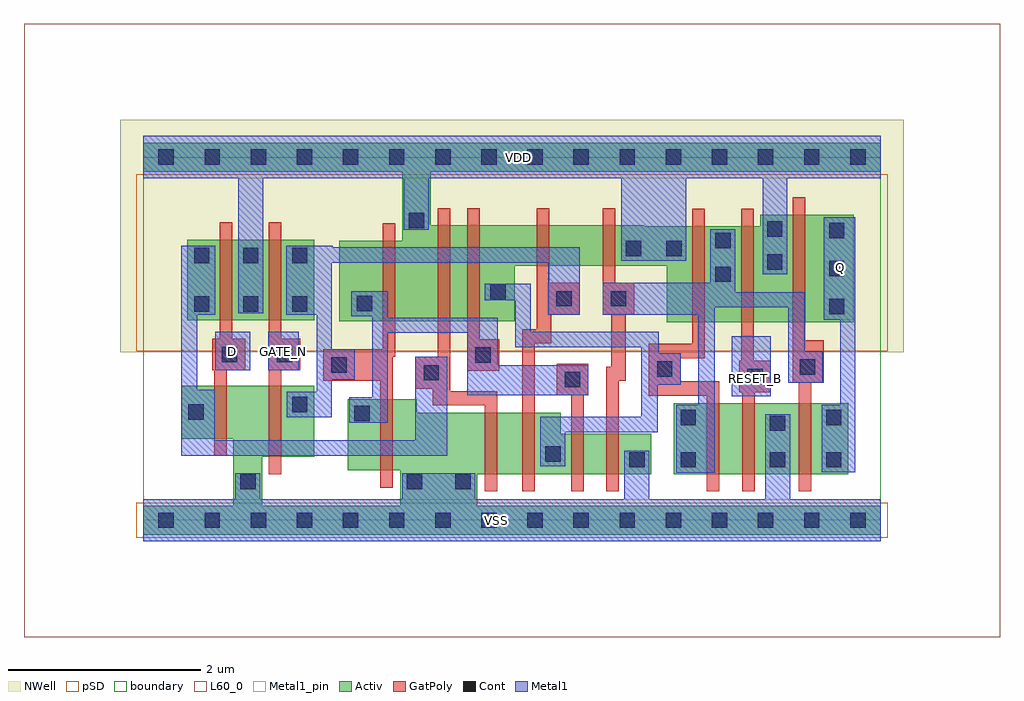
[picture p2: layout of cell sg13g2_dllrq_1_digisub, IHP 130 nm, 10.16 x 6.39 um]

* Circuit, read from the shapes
.subckt sg13g2_dllrq_1_digisub D GATE_N Q RESET_B VDD VSS
XM1 VSS D n1 VSS sg13_lv_nmos w=0.55u l=0.13u
XM2 n2 GATE_N VSS VSS sg13_lv_nmos w=0.74u l=0.13u
XM3 VSS n2 n3 VSS sg13_lv_nmos w=0.74u l=0.13u
XM4 n4 n1 VSS VSS sg13_lv_nmos w=0.64u l=0.13u
XM5 n5 n2 n4 VSS sg13_lv_nmos w=0.64u l=0.13u
XM6 n6 n3 n5 VSS sg13_lv_nmos w=0.42u l=0.13u
XM7 VSS n7 n6 VSS sg13_lv_nmos w=0.42u l=0.13u
XM8 n8 n5 n7 VSS sg13_lv_nmos w=0.74u l=0.13u
XM9 VSS RESET_B n8 VSS sg13_lv_nmos w=0.74u l=0.13u
XM10 Q n7 VSS VSS sg13_lv_nmos w=0.74u l=0.13u
XM11 VDD D n1 VDD sg13_lv_pmos w=0.84u l=0.13u
XM12 n2 GATE_N VDD VDD sg13_lv_pmos w=0.84u l=0.13u
XM13 VDD n2 n3 VDD sg13_lv_pmos w=0.84u l=0.13u
XM14 n9 n1 VDD VDD sg13_lv_pmos w=1u l=0.13u
XM15 n5 n3 n9 VDD sg13_lv_pmos w=1u l=0.13u
XM16 n10 n2 n5 VDD sg13_lv_pmos w=0.42u l=0.13u
XM17 VDD n7 n10 VDD sg13_lv_pmos w=0.42u l=0.13u
XM18 n7 n5 VDD VDD sg13_lv_pmos w=1u l=0.13u
XM19 VDD RESET_B n7 VDD sg13_lv_pmos w=1u l=0.13u
XM20 Q n7 VDD VDD sg13_lv_pmos w=1.12u l=0.13u
.ends

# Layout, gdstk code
import gdstk
lib = gdstk.Library(unit=1e-6, precision=1e-09)
def R(c, l, rs):  # rectangles x0, y0, x1, y1
    for r in rs: c.add(gdstk.rectangle(r[:2], r[2:], *l))
def A(c, l, x, y, w, h, nx, ny, dx, dy):  # array of equal rectangles
    R(c, l, [(x+i*dx, y+j*dy, x+i*dx+w, y+j*dy+h) for i in range(nx) for j in range(ny)])
def P(c, l, *ps):  # polygons
    for p in ps: c.add(gdstk.Polygon(p, *l))
Activ = (1, 0)
GatPoly = (5, 0)
Cont = (6, 0)
Metal1 = (8, 0)
Metal1_pin = (8, 2)
pSD = (14, 0)
NWell = (31, 0)
L60_0 = (60, 0)
boundary = (189, 4)

sg13g2_dllrq_1_digisub = lib.new_cell('sg13g2_dllrq_1_digisub')
R(sg13g2_dllrq_1_digisub, Activ, [(5.525,0.48,7.34,1.22), (0.46,2.08,1.78,2.92)])
P(sg13g2_dllrq_1_digisub, Activ, [(7.68,0.15),(3.48,0.15),(3.48,0.48),(5.29,0.48),(5.29,0.9),(4.345,0.9),(4.345,1.12),(2.85,1.12),(2.85,1.26),(2.13,1.26),(2.13,0.52),(2.675,0.52),(2.675,0.15),(1.24,0.15),(1.24,0.66),(1.78,0.66),(1.78,1.4),(0.4,1.4),(0.4,0.85),(0.94,0.85),(0.94,0.15),(0,0.15),(0,-0.15),(7.68,-0.15)],
  [(7.68,3.93),(0,3.93),(0,3.63),(2.695,3.63),(2.695,2.91),(2.04,2.91),(2.04,2.07),(3.87,2.07),(3.87,2.65),(5.45,2.65),(5.45,2.06),(7.395,2.06),(7.395,3.18),(6.425,3.18),(6.425,3.06),(5.215,3.06),(5.215,3.07),(2.995,3.07),(2.995,3.63),(7.68,3.63)])
P(sg13g2_dllrq_1_digisub, GatPoly, [(1.065,1.89),(0.93,1.89),(0.93,3.1),(0.8,3.1),(0.8,1.89),(0.72,1.89),(0.72,1.56),(0.74,1.56),(0.74,0.67),(0.87,0.67),(0.87,1.56),(1.065,1.56)],
  [(1.635,1.89),(1.44,1.89),(1.44,3.1),(1.31,3.1),(1.31,1.89),(1.305,1.89),(1.305,1.56),(1.31,1.56),(1.31,0.48),(1.44,0.48),(1.44,1.56),(1.635,1.56)],
  [(2.6,1.7),(2.625,1.7),(2.625,3.09),(2.495,3.09),(2.495,1.78),(1.875,1.78),(1.875,1.45),(2.47,1.45),(2.47,0.34),(2.6,0.34)],
  [(3.705,1.885),(3.505,1.885),(3.505,3.25),(3.375,3.25),(3.375,1.555),(3.705,1.555)],
  [(3.685,1.345),(3.195,1.345),(3.195,3.25),(3.065,3.25),(3.065,1.7),(2.835,1.7),(2.835,1.37),(3.015,1.37),(3.015,1.195),(3.555,1.195),(3.555,0.3),(3.685,0.3)],
  [(4.545,2.47),(4.23,2.47),(4.23,3.25),(4.1,3.25),(4.1,1.99),(3.945,1.99),(3.945,0.3),(4.075,0.3),(4.075,1.84),(4.25,1.84),(4.25,2.14),(4.545,2.14)],
  [(4.635,1.63),(4.305,1.63),(4.305,1.3),(4.455,1.3),(4.455,0.3),(4.585,0.3),(4.585,1.3),(4.635,1.3)],
  [(5.115,2.47),(4.915,2.47),(4.915,3.25),(4.785,3.25),(4.785,2.14),(4.875,2.14),(4.875,1.6),(4.82,1.6),(4.82,0.3),(4.95,0.3),(4.95,1.45),(5.025,1.45),(5.025,2.14),(5.115,2.14)],
  [(5.995,1.445),(5.595,1.445),(5.595,1.685),(5.845,1.685),(5.845,3.24),(5.715,3.24),(5.715,1.835),(5.265,1.835),(5.265,1.295),(5.865,1.295),(5.865,0.3),(5.995,0.3)],
  [(6.535,1.66),(6.355,1.66),(6.355,3.24),(6.225,3.24),(6.225,1.66),(6.205,1.66),(6.205,1.33),(6.235,1.33),(6.235,0.3),(6.365,0.3),(6.365,1.33),(6.535,1.33)],
  [(7.085,1.875),(6.895,1.875),(6.895,3.36),(6.765,3.36),(6.765,1.43),(6.825,1.43),(6.825,0.3),(6.955,0.3),(6.955,1.43),(7.085,1.43)])
A(sg13g2_dllrq_1_digisub, Cont, 0.16, -0.08, 0.16, 0.16, 16, 2, 0.48, 3.78)
A(sg13g2_dllrq_1_digisub, Cont, 7.14, 2.145, 0.16, 0.16, 1, 3, 0, 0.395)
A(sg13g2_dllrq_1_digisub, Cont, 0.53, 2.17, 0.16, 0.16, 3, 2, 0.51, 0.505)
R(sg13g2_dllrq_1_digisub, Cont, [(1.01,0.32,1.17,0.48), (2.745,0.32,2.905,0.48), (3.25,0.32,3.41,0.48), (5.06,0.55,5.22,0.71), (5.595,0.55,5.755,0.71), (6.525,0.55,6.685,0.71), (7.11,0.55,7.27,0.71), (4.185,0.61,4.345,0.77), (6.525,0.93,6.685,1.09), (5.595,0.99,5.755,1.15), (7.11,0.99,7.27,1.15), (2.2,1.03,2.36,1.19), (0.47,1.045,0.63,1.205), (1.55,1.125,1.71,1.285), (4.39,1.385,4.55,1.545), (6.29,1.415,6.45,1.575), (2.92,1.455,3.08,1.615), (5.35,1.495,5.51,1.655), (6.835,1.515,6.995,1.675), (1.96,1.535,2.12,1.695), (3.46,1.64,3.62,1.8), (0.82,1.645,0.98,1.805), (1.39,1.645,1.55,1.805), (2.225,2.175,2.385,2.335), (4.3,2.225,4.46,2.385), (4.87,2.225,5.03,2.385), (3.615,2.295,3.775,2.455), (5.955,2.48,6.115,2.64), (6.495,2.61,6.655,2.77), (5.025,2.75,5.185,2.91), (5.445,2.75,5.605,2.91), (5.955,2.83,6.115,2.99), (6.495,2.95,6.655,3.11), (2.765,3.04,2.925,3.2)])
R(sg13g2_dllrq_1_digisub, Metal1, [(6.13,1.29,6.535,1.915), (0.75,1.56,1.115,1.96), (1.305,1.56,1.62,1.96)])
P(sg13g2_dllrq_1_digisub, Metal1, [(3.165,1.7),(2.835,1.7),(2.835,0.835),(0.745,0.835),(0.745,1.36),(0.565,1.36),(0.565,2.14),(0.75,2.14),(0.75,2.855),(0.395,2.855),(0.395,0.67),(3.165,0.67)],
  [(4.545,2.84),(1.975,2.84),(1.975,2.855),(1.49,2.855),(1.49,2.14),(1.805,2.14),(1.805,1.335),(1.495,1.335),(1.495,1.07),(1.965,1.07),(1.965,1.46),(2.205,1.46),(2.205,1.78),(1.965,1.78),(1.965,2.68),(4.215,2.68),(4.215,2.14),(4.545,2.14)],
  [(7.415,3.155),(7.085,3.155),(7.085,2.085),(7.255,2.085),(7.255,1.2),(7.065,1.2),(7.065,0.5),(7.415,0.5)],
  [(5.595,1.74),(5.37,1.74),(5.37,1.96),(4.035,1.96),(4.035,2.46),(3.555,2.46),(3.555,2.29),(3.875,2.29),(3.875,1.8),(5.185,1.8),(5.185,1.075),(4.135,1.075),(4.135,0.56),(4.395,0.56),(4.395,0.915),(5.355,0.915),(5.355,1.41),(5.595,1.41)],
  [(4.635,1.615),(3.69,1.615),(3.69,2.11),(2.545,2.11),(2.545,2.385),(2.165,2.385),(2.165,2.125),(2.385,2.125),(2.385,1.28),(2.145,1.28),(2.145,1.015),(2.545,1.015),(2.545,1.95),(3.375,1.95),(3.375,1.3),(4.635,1.3)],
  [(7.68,4),(0,4),(0,3.56),(0.99,3.56),(0.99,2.155),(1.25,2.155),(1.25,3.56),(2.715,3.56),(2.715,3.025),(2.975,3.025),(2.975,3.56),(4.975,3.56),(4.975,2.7),(5.655,2.7),(5.655,3.56),(6.45,3.56),(6.45,2.56),(6.705,2.56),(6.705,3.56),(7.68,3.56)],
  [(7.075,1.76),(6.885,1.76),(6.885,2.375),(6.165,2.375),(6.165,3.03),(5.905,3.03),(5.905,2.47),(4.785,2.47),(4.785,2.14),(5.78,2.14),(5.78,1.2),(5.55,1.2),(5.55,0.495),(5.95,0.495),(5.95,2.215),(6.715,2.215),(6.715,1.43),(7.075,1.43)],
  [(7.68,0.22),(6.735,0.22),(6.735,1.105),(6.475,1.105),(6.475,0.22),(5.27,0.22),(5.27,0.725),(5.01,0.725),(5.01,0.22),(3.46,0.22),(3.46,0.49),(2.695,0.49),(2.695,0.22),(1.22,0.22),(1.22,0.49),(0.96,0.49),(0.96,0.22),(0,0.22),(0,-0.22),(7.68,-0.22)])
R(sg13g2_dllrq_1_digisub, Metal1_pin, [(0,-0.22,7.68,0.22), (6.13,1.29,6.535,1.915), (0.75,1.56,1.115,1.96), (1.305,1.56,1.62,1.96), (7.085,2.085,7.415,3.155), (0,3.56,7.68,4)])
R(sg13g2_dllrq_1_digisub, pSD, [(-0.07,-0.18,7.75,0.18), (-0.07,1.76,7.75,3.6)])
R(sg13g2_dllrq_1_digisub, NWell, [(-0.24,1.75,7.92,4.17)])
R(sg13g2_dllrq_1_digisub, L60_0, [(-1.24,-1.22,8.92,5.17)])
R(sg13g2_dllrq_1_digisub, boundary, [(0,0,7.68,3.78)])
sg13g2_dllrq_1_digisub.add(gdstk.Label('GATE_N', (1.46,1.76), layer=8, texttype=25))
sg13g2_dllrq_1_digisub.add(gdstk.Label('VSS', (3.675,0), layer=8, texttype=25))
sg13g2_dllrq_1_digisub.add(gdstk.Label('VDD', (3.91,3.78), layer=8, texttype=25))
sg13g2_dllrq_1_digisub.add(gdstk.Label('Q', (7.255,2.635), layer=8, texttype=25))
sg13g2_dllrq_1_digisub.add(gdstk.Label('RESET_B', (6.37,1.475), layer=8, texttype=25))
sg13g2_dllrq_1_digisub.add(gdstk.Label('D', (0.93,1.76), layer=8, texttype=25))

lib.write_gds('sg13g2_dllrq_1_digisub.gds')
